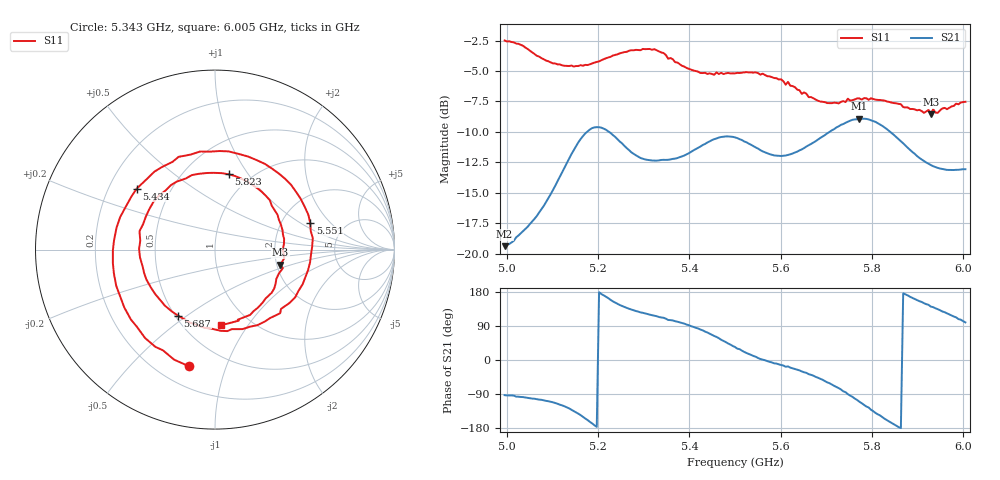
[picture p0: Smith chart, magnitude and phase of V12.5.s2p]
!File created by NanoVNA
# Hz S RI R 50
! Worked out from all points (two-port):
!   201 points, 4.995 GHz to 6.005 GHz, reference 50 ohm
!   highest |S21| = -8.91 dB at 5.773 GHz (marker M1); lowest = -19.4 dB at 4.995 GHz (marker M2)
!   |S21| within 3 dB of the highest: 5.39 GHz to 5.584 GHz (194.4 MHz wide, 3.54 % of centre); 5.613 GHz to 5.897 GHz (283.8 MHz wide, 4.93 % of centre)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
!   lowest |S11| = -8.6 dB at 5.929 GHz (marker M3), VSWR 2.19, Z = 104 - j20.4 ohm
!   |S11| at or under -10 dB: nowhere
!   S12 and S22 are empty: the file has one direction only
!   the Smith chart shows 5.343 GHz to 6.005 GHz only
!   S11 on the Smith chart (normalised r, x): 5.343 GHz: 0.32, -0.75; 5.434 GHz: 0.32, +0.31; 5.551 GHz: 2.87, +1.23; 5.687 GHz: 0.52, -0.46; 5.823 GHz: 0.80, +0.81; 6.005 GHz: 0.74, -0.76
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4.995e9  0.2122 -0.7198  -0.00522 -0.1073  0 0  0 0
5.03035e9  -0.3104 -0.65  -0.016 -0.1203  0 0  0 0
5.0758e9  -0.6287 -0.0874  -0.0396 -0.1471  0 0  0 0
5.1263e9  -0.3403 0.483  -0.1204 -0.1911  0 0  0 0
5.1667e9  0.1023 0.5819  -0.2631 -0.1521  0 0  0 0
5.2576e9  0.6637 -0.1073  -0.2124 0.1782  0 0  0 0
5.298e9  0.447 -0.529  -0.1391 0.2024  0 0  0 0
5.33335e9  -0.00763 -0.6768  -0.0961 0.2217  0 0  0 0
5.34345e9  -0.1425 -0.6512  -0.0889 0.2261  0 0  0 0
5.3889e9  -0.5504 -0.2018  -0.026 0.2517  0 0  0 0
5.43435e9  -0.4359 0.3402  0.0731 0.2726  0 0  0 0
5.5e9  0.2265 0.5009  0.2483 0.1689  0 0  0 0
5.5505e9  0.5308 0.1486  0.269 0.0249  0 0  0 0
5.6212e9  0.3053 -0.3824  0.2403 -0.0879  0 0  0 0
5.6717e9  -0.0874 -0.4254  0.2148 -0.1888  0 0  0 0
5.68685e9  -0.2071 -0.3672  0.194 -0.2271  0 0  0 0
5.7323e9  -0.4177 -0.0445  0.0714 -0.3306  0 0  0 0
5.7727e9  -0.3117 0.3021  -0.1233 -0.3365  0 0  0 0
5.8232e9  0.0764 0.4192  -0.2926 -0.1623  0 0  0 0
5.83835e9  0.1735 0.3821  -0.3041 -0.0951  0 0  0 0
5.92925e9  0.3635 -0.0842  -0.1794 0.146  0 0  0 0
6.005e9  0.0344 -0.419  -0.0358 0.2194  0 0  0 0
